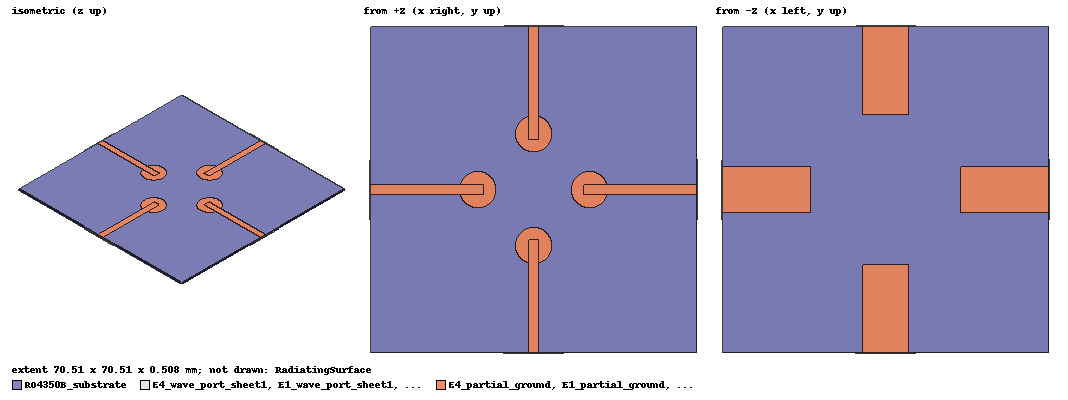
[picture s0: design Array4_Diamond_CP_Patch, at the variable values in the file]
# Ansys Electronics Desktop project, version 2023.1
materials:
  vacuum: permittivity=1
  RO4350B_custom: permittivity=3.48 permeability=1 dielectric_loss_tangent=0.0037
  copper: permeability=0.999991 conductivity=58000000
  pec: conductivity=1e+30
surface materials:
  Steel-oxidised-surface

design Array4_Diamond_CP_Patch (HFSS, HFSS Modal Network, model units mm)
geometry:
  RO4350B_substrate [RO4350B_custom] = box(corner=(-35mm, -35mm, 0mm), size=(70mm, 70mm, 0.508mm))
  E1_disc [copper] = circle(normal=Z, centre=(12.020815mm, 0mm, 0.508mm), radius=3.9mm, segments=72)
  E1_feed_line [copper] = polyline(z=0.508mm, xy in mm: (10.655815, -1.075) (35, -1.075) (35, 1.075) (10.655815, 1.075) (10.655815, -1.075), closed, covered)
  E1_partial_ground [copper] = polyline(z=0mm, xy in mm: (16.220815, -5) (35, -5) (35, 5) (16.220815, 5) (16.220815, -5), closed, covered)
  E1_wave_port_sheet = polyline(x=35mm, yz in mm: (-6.45, 0) (6.45, 0) (6.45, 0.508) (-6.45, 0.508) (-6.45, 0), closed, covered)
  E1_wave_port_sheet1 [pec] = polyline(x=35mm, yz in mm: (-6.45, 0) (6.45, 0) (6.45, 0.508) (-6.45, 0.508) (-6.45, 0), closed, covered)
  E1_wave_port_sheet1.thicken(0.25599219mm)
  E2_disc [copper] = circle(normal=Z, centre=(7.3606265e-16mm, 12.020815mm, 0.508mm), radius=3.9mm, segments=72)
  E2_feed_line [copper] = polyline(z=0.508mm, xy in mm: (1.075, 10.655815) (1.075, 35) (-1.075, 35) (-1.075, 10.655815) (1.075, 10.655815), closed, covered)
  E2_partial_ground [copper] = polyline(z=0mm, xy in mm: (5, 16.220815) (5, 35) (-5, 35) (-5, 16.220815) (5, 16.220815), closed, covered)
  E2_wave_port_sheet = polyline(y=35mm, xz in mm: (6.45, 0) (-6.45, 0) (-6.45, 0.508) (6.45, 0.508) (6.45, 0), closed, covered)
  E2_wave_port_sheet1 [pec] = polyline(y=35mm, xz in mm: (6.45, 0) (-6.45, 0) (-6.45, 0.508) (6.45, 0.508) (6.45, 0), closed, covered)
  E2_wave_port_sheet1.thicken(0.25599219mm)
  E3_disc [copper] = circle(normal=Z, centre=(-12.020815mm, 1.4721253e-15mm, 0.508mm), radius=3.9mm, segments=72)
  E3_feed_line [copper] = polyline(z=0.508mm, xy in mm: (-10.655815, 1.075) (-35, 1.075) (-35, -1.075) (-10.655815, -1.075) (-10.655815, 1.075), closed, covered)
  E3_partial_ground [copper] = polyline(z=0mm, xy in mm: (-16.220815, 5) (-35, 5) (-35, -5) (-16.220815, -5) (-16.220815, 5), closed, covered)
  E3_wave_port_sheet = polyline(x=-35mm, yz in mm: (6.45, 0) (-6.45, 0) (-6.45, 0.508) (6.45, 0.508) (6.45, 0), closed, covered)
  E3_wave_port_sheet1 [pec] = polyline(x=-35mm, yz in mm: (6.45, 0) (-6.45, 0) (-6.45, 0.508) (6.45, 0.508) (6.45, 0), closed, covered)
  E3_wave_port_sheet1.thicken(0.25599219mm)
  E4_disc [copper] = circle(normal=Z, centre=(-2.2081879e-15mm, -12.020815mm, 0.508mm), radius=3.9mm, segments=72)
  E4_feed_line [copper] = polyline(z=0.508mm, xy in mm: (-1.075, -10.655815) (-1.075, -35) (1.075, -35) (1.075, -10.655815) (-1.075, -10.655815), closed, covered)
  E4_partial_ground [copper] = polyline(z=0mm, xy in mm: (-5, -16.220815) (-5, -35) (5, -35) (5, -16.220815) (-5, -16.220815), closed, covered)
  E4_wave_port_sheet = polyline(y=-35mm, xz in mm: (-6.45, 0) (6.45, 0) (6.45, 0.508) (-6.45, 0.508) (-6.45, 0), closed, covered)
  E4_wave_port_sheet1 [pec] = polyline(y=-35mm, xz in mm: (-6.45, 0) (6.45, 0) (6.45, 0.508) (-6.45, 0.508) (-6.45, 0), closed, covered)
  E4_wave_port_sheet1.thicken(0.25599219mm)
  RadiatingSurface [vacuum] = region(absolute_offset=14.285714mm on all sides)
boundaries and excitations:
  PEC_metallization: Perfect E Objects=[E1_disc, E1_feed_line, E1_partial_ground, E2_disc, E2_feed_line, E2_partial_ground, E3_disc, E3_feed_line, E3_partial_ground, E4_disc, E4_feed_line, E4_partial_ground]
  Open1: Radiation Objects=RadiatingSurface
  P1: Wave Port Objects=E1_wave_port_sheet WavePortType=Modal NumModes=1 Modes{Mode1{IntLine{(35, 0, 0.508) -> (35, 0, 0)} CharImp=Zpi RenormImp=50ohm}}
  P2: Wave Port Objects=E2_wave_port_sheet WavePortType=Modal NumModes=1 Modes{Mode1{IntLine{(0, 35, 0.508) -> (0, 35, 0)} CharImp=Zpi RenormImp=50ohm}}
  P3: Wave Port Objects=E3_wave_port_sheet WavePortType=Modal NumModes=1 Modes{Mode1{IntLine{(-35, 0, 0.508) -> (-35, 0, 0)} CharImp=Zpi RenormImp=50ohm}}
  P4: Wave Port Objects=E4_wave_port_sheet WavePortType=Modal NumModes=1 Modes{Mode1{IntLine{(0, -35, 0.508) -> (0, -35, 0)} CharImp=Zpi RenormImp=50ohm}}
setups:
  Setup_CH9: HfssDriven Frequency=8GHz MaxDeltaS=0.02 MaximumPasses=7 MinimumPasses=2 MinimumConvergedPasses=1 PercentRefinement=30 BasisOrder=1 PortAccuracy=2 DrivenSolverType="Direct Solver"
    sweep Sweep_CH9: 7.5GHz to 8.5GHz step 0.02GHz; Type=Discrete SaveFields SaveRadFields
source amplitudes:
  P1:1: 1W 0deg
  P2:1, P3:1, P4:1: 0W 0deg
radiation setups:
  3D: Infinite Sphere Theta=0deg..180deg step 2deg Phi=-180deg..180deg step 2deg
  Elevation: Infinite Sphere Theta=-180deg..180deg step 1deg Phi=0deg..90deg step 90deg
  Azimuth: Infinite Sphere Theta=90deg..90deg step 0deg Phi=-180deg..180deg step 1deg
  Upper_Hemisphere_5deg: Infinite Sphere Theta=0deg..360deg step 5deg Phi=0deg..90deg step 5deg
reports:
  CH9_S_Parameters_and_Isolation: dB(S(P2:1,P2:1)), dB(S(P3:1,P3:1)), dB(S(P1:1,P1:1)), dB(S(P4:1,P4:1)), dB(S(P2:1,P3:1)), dB(S(P2:1,P1:1)), dB(S(P2:1,P4:1)), dB(S(P3:1,P2:1)), dB(S(P3:1,P1:1)), dB(S(P3:1,P4:1)), dB(S(P1:1,P2:1)), dB(S(P1:1,P3:1)), dB(S(P1:1,P4:1)), dB(S(P4:1,P2:1)), dB(S(P4:1,P3:1)), dB(S(P4:1,P1:1)) vs Freq on Setup_CH9 : Sweep_CH9
